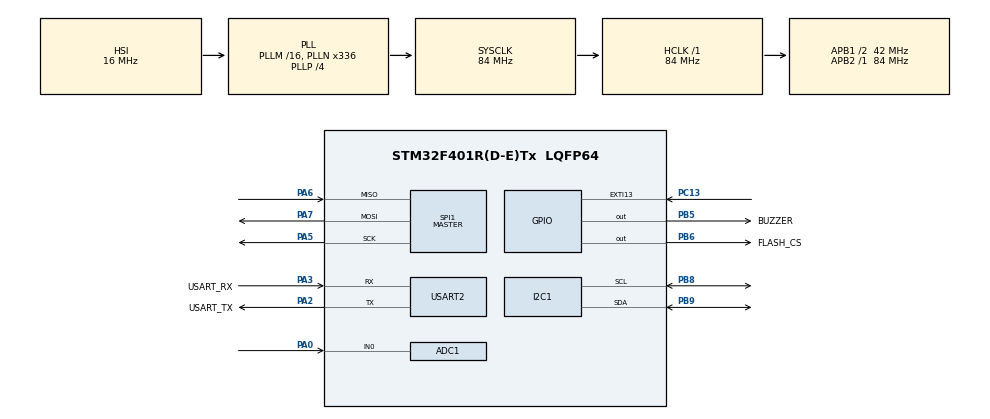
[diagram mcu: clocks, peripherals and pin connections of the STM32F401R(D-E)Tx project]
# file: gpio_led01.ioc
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ADC1.Channel-1\#ChannelRegularConversion=ADC_CHANNEL_0
ADC1.NbrOfConversionFlag=1
ADC1.Rank-1\#ChannelRegularConversion=1
ADC1.SamplingTime-1\#ChannelRegularConversion=ADC_SAMPLETIME_3CYCLES
ADC1.master=1
Mcu.Family=STM32F4
Mcu.Name=STM32F401R(D-E)Tx
Mcu.Package=LQFP64
NVIC.EXTI15_10_IRQn=true\:0\:0\:false\:false\:true\:true\:true\:true
NVIC.PriorityGroup=NVIC_PRIORITYGROUP_4
PA0-WKUP.Signal=ADCx_IN0
PA13.GPIO_Label=TMS
PA13.Mode=Trace_Asynchronous_SW
PA13.Signal=SYS_JTMS-SWDIO
PA14.GPIO_Label=TCK
PA14.Mode=Trace_Asynchronous_SW
PA14.Signal=SYS_JTCK-SWCLK
PA2.GPIO_Label=USART_TX
PA2.GPIO_Mode=GPIO_MODE_AF_PP
PA2.GPIO_PuPd=GPIO_NOPULL
PA2.GPIO_Speed=GPIO_SPEED_FREQ_LOW
PA2.Mode=Asynchronous
PA2.Signal=USART2_TX
PA3.GPIO_Label=USART_RX
PA3.GPIO_Mode=GPIO_MODE_AF_PP
PA3.GPIO_PuPd=GPIO_NOPULL
PA3.GPIO_Speed=GPIO_SPEED_FREQ_LOW
PA3.Mode=Asynchronous
PA3.Signal=USART2_RX
PA5.Mode=Full_Duplex_Master
PA5.Signal=SPI1_SCK
PA6.Mode=Full_Duplex_Master
PA6.Signal=SPI1_MISO
PA7.Mode=Full_Duplex_Master
PA7.Signal=SPI1_MOSI
PB3.GPIO_Label=SWO
PB3.Mode=Trace_Asynchronous_SW
PB3.Signal=SYS_JTDO-SWO
PB5.GPIO_Label=BUZZER
PB5.PinState=GPIO_PIN_SET
PB5.Signal=GPIO_Output
PB6.GPIO_Label=FLASH_CS
PB6.PinState=GPIO_PIN_SET
PB6.Signal=GPIO_Output
PB8.Mode=I2C
PB8.Signal=I2C1_SCL
PB9.Mode=I2C
PB9.Signal=I2C1_SDA
PC13-ANTI_TAMP.GPIO_ModeDefaultEXTI=GPIO_MODE_IT_FALLING
PC13-ANTI_TAMP.Signal=GPXTI13
PC14-OSC32_IN.Mode=LSE-External-Oscillator
PC14-OSC32_IN.Signal=RCC_OSC32_IN
PC15-OSC32_OUT.Mode=LSE-External-Oscillator
PC15-OSC32_OUT.Signal=RCC_OSC32_OUT
PH0\ -\ OSC_IN.Mode=HSE-External-Clock-Source
PH0\ -\ OSC_IN.Signal=RCC_OSC_IN
PH1\ -\ OSC_OUT.Mode=HSE-External-Clock-Source
PH1\ -\ OSC_OUT.Signal=RCC_OSC_OUT
ProjectManager.HeapSize=0x200
ProjectManager.StackSize=0x400
ProjectManager.TargetToolchain=STM32CubeIDE
RCC.48MHZClocksFreq_Value=48000000
RCC.AHBFreq_Value=84000000
RCC.APB1CLKDivider=RCC_HCLK_DIV2
RCC.APB1Freq_Value=42000000
RCC.APB1TimFreq_Value=84000000
RCC.APB2Freq_Value=84000000
RCC.APB2TimFreq_Value=84000000
RCC.CortexFreq_Value=84000000
RCC.HCLKFreq_Value=84000000
RCC.HSE_VALUE=8000000
RCC.HSI_VALUE=16000000
RCC.PLLN=336
RCC.PLLP=RCC_PLLP_DIV4
RCC.PLLQ=7
RCC.SYSCLKFreq_VALUE=84000000
RCC.SYSCLKSource=RCC_SYSCLKSOURCE_PLLCLK
RCC.VCOOutputFreq_Value=336000000
SH.ADCx_IN0.0=ADC1_IN0,IN0
SPI1.BaudRatePrescaler=SPI_BAUDRATEPRESCALER_64
SPI1.Direction=SPI_DIRECTION_2LINES
SPI1.Mode=SPI_MODE_MASTER
SPI1.VirtualType=VM_MASTER
USART2.VirtualMode=VM_ASYNC
VP_TIM2_VS_ClockSourceINT.Mode=Internal
board=NUCLEO-F401RE

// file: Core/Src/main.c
/* USER CODE BEGIN Header */
/**
  ******************************************************************************
  * @file           : main.c
  * @brief          : Main program body
  ******************************************************************************
  * @attention
  *
  * Copyright (c) 2026 STMicroelectronics.
  * All rights reserved.
  *
  * This software is licensed under terms that can be found in the LICENSE file
  * in the root directory of this software component.
  * If no LICENSE file comes with this software, it is provided AS-IS.
  *
  ******************************************************************************
  */
/* USER CODE END Header */
#include "main.h"

/* USER CODE BEGIN Includes */

#include<stdio.h>
#include <string.h>

#include "oled.h"
#include "aht20.h"
#include "w25q64.h"
#include "config.h"
#include "alarm.h"

/* USER CODE END Includes */

ADC_HandleTypeDef hadc1;

I2C_HandleTypeDef hi2c1;

SPI_HandleTypeDef hspi1;

TIM_HandleTypeDef htim2;

UART_HandleTypeDef huart2;

/* USER CODE BEGIN PV */

static volatile uint8_t button_pressed = 0;

static char tx_buffer[64];

static char oled_temp[16];
static char oled_humi[16];
static char oled_state[16];

static float humidity = 0.0f;
static float temperature = 0.0f;

static int32_t temperature_x10 = 0;
static uint32_t humidity_x10 = 0;

/* USER CODE END PV */

void SystemClock_Config(void);
static void MX_GPIO_Init(void);
static void MX_USART2_UART_Init(void);
static void MX_TIM2_Init(void);
static void MX_ADC1_Init(void);
static void MX_I2C1_Init(void);
static void MX_SPI1_Init(void);

int main(void)
{

  /* MCU Configuration--------------------------------------------------------*/

  /* Reset of all peripherals, Initializes the Flash interface and the Systick. */
  HAL_Init();

  /* Configure the system clock */
  SystemClock_Config();

  /* Initialize all configured peripherals */
  MX_GPIO_Init();
  MX_USART2_UART_Init();
  MX_TIM2_Init();
  MX_ADC1_Init();
  MX_I2C1_Init();
  MX_SPI1_Init();
  /* USER CODE BEGIN 2 */

  HAL_Delay(100);

  HAL_StatusTypeDef aht20_init_status;

  aht20_init_status = AHT20_Init(&hi2c1);

  int len = snprintf(
      tx_buffer,
      sizeof(tx_buffer),
      "AHT20 Init: %s\r\n",
      (aht20_init_status == HAL_OK) ? "OK" : "ERROR"
  );

  HAL_StatusTypeDef oled_init_status;

  oled_init_status = OLED_Init(&hi2c1);

  if (oled_init_status == HAL_OK)
  {
	    OLED_Clear();
  }

  HAL_UART_Transmit(
      &huart2,
      (uint8_t *)tx_buffer,
      len,
      100
  );

  int oled_len = snprintf(
      tx_buffer,
      sizeof(tx_buffer),
      "OLED Init: %s\r\n",
      (oled_init_status == HAL_OK) ? "OK" : "ERROR"
  );

  HAL_UART_Transmit(
      &huart2,
      (uint8_t *)tx_buffer,
      oled_len,
      100
  );

  uint8_t flash_manufacturer;
  uint8_t flash_memory_type;
  uint8_t flash_capacity;

  HAL_StatusTypeDef flash_status;

  flash_status = W25Q64_Init(&hspi1);

  if (flash_status == HAL_OK)
  {
      flash_status = W25Q64_ReadJEDEC_ID(&flash_manufacturer,
                                        &flash_memory_type,
                                        &flash_capacity);
  }

  if (flash_status == HAL_OK)
  {
      int flash_len = snprintf(
          tx_buffer,
          sizeof(tx_buffer),
          "W25Q64 JEDEC ID: %02X %02X %02X\r\n",
          flash_manufacturer,
          flash_memory_type,
          flash_capacity
      );

      HAL_UART_Transmit(
          &huart2,
          (uint8_t *)tx_buffer,
          flash_len,
          100
      );
  }
  else
  {
      int flash_len = snprintf(
          tx_buffer,
          sizeof(tx_buffer),
          "W25Q64 ERROR\r\n"
      );

      HAL_UART_Transmit(
          &huart2,
          (uint8_t *)tx_buffer,
          flash_len,
          100
      );
  }

  AlarmConfig read_config;

  if(Config_Load(&read_config) == HAL_OK &&
		   Config_IsValid(&read_config))
  {
      int config_len = snprintf(
          tx_buffer,
          sizeof(tx_buffer),
          "Load Config: T_ON=%d T_OFF=%d H_ON=%d H_OFF=%d\r\n",
          read_config.temp_on_x10,
          read_config.temp_off_x10,
          read_config.humi_on_x10,
          read_config.humi_off_x10
      );

      HAL_UART_Transmit(
          &huart2,
          (uint8_t *)tx_buffer,
          config_len,
          100
      );

      snprintf(
          tx_buffer,
          sizeof(tx_buffer),
          "Config source: FLASH\r\n"
      );

      HAL_UART_Transmit(
          &huart2,
          (uint8_t *)tx_buffer,
          strlen(tx_buffer),
          100
      );

  }
  else
  {
      /* Flash读取失败或配置非法 */
      Config_SetDefault(&read_config);

      Config_Save(&read_config);

      snprintf(
          tx_buffer,
          sizeof(tx_buffer),
          "Config invalid, defaults restored\r\n"
      );

      HAL_UART_Transmit(
          &huart2,
          (uint8_t *)tx_buffer,
          strlen(tx_buffer),
          100
      );
  }

  Alarm_SetThresholds(
      read_config.temp_on_x10,
      read_config.temp_off_x10,
      read_config.humi_on_x10,
      read_config.humi_off_x10
  );

  /* USER CODE END 2 */

  /* Infinite loop */
  while (1)
  {

    /* USER CODE BEGIN 3 */

	  if (button_pressed == 1)
	  {
	      button_pressed = 0;

	      Alarm_Enable_Toggle();
	  }

	  if (AHT20_Read(&temperature, &humidity) == HAL_OK)
	  {

		  temperature_x10 = (int32_t)(temperature * 10.0f);
		  humidity_x10 = (uint32_t)(humidity * 10.0f);

		  Alarm_Update(
		      temperature_x10,
		      humidity_x10
		  );

		  Alarm_Buzzer_Update();
		  /* ---------- UART 输出 ---------- */

		  int aht_len = snprintf(
		      tx_buffer,
		      sizeof(tx_buffer),
		      "Temperature: %ld.%ld C, Humidity: %lu.%lu %%, State: %s\r\n",
		      (long)(temperature_x10 / 10),
		      (long)(temperature_x10 % 10),
		      (unsigned long)(humidity_x10 / 10),
		      (unsigned long)(humidity_x10 % 10),
		      (Alarm_GetState() == ALARM_ACTIVE) ? "ALARM" : "NORMAL"
		  );

		  HAL_UART_Transmit(
			  &huart2,
			  (uint8_t *)tx_buffer,
			  aht_len,
			  100
		  );

		  /* ---------- OLED 实时温度 ---------- */

		  snprintf(
			  oled_temp,
			  sizeof(oled_temp),
			  "%ld.%ld",
			  (long)(temperature_x10 / 10),
			  (long)(temperature_x10 % 10)
		  );

		  snprintf(
			  oled_humi,
			  sizeof(oled_humi),
			  "%lu.%lu",
			  (unsigned long)(humidity_x10 / 10),
			  (unsigned long)(humidity_x10 % 10)
		  );

		  if (Alarm_GetState() == ALARM_ACTIVE)
		  {
		      snprintf(
		          oled_state,
		          sizeof(oled_state),
		          "ALARM"
		      );
		  }
		  else
		  {
		      snprintf(
		          oled_state,
		          sizeof(oled_state),
		          "NORMAL"
		      );
		  }

		  if (oled_init_status == HAL_OK)
		  {
			  /* 第一行：温度 */
			  OLED_ClearPage(0);
			  OLED_ShowString(0, 0, oled_temp);

			  /* 第二行：湿度 */
			  OLED_ClearPage(1);
			  OLED_ShowString(0, 1, oled_humi);

			  OLED_ClearPage(2);
			  OLED_ShowString(0, 2, oled_state);

			  OLED_ClearPage(3);

			  if (Alarm_IsEnabled())
			  {
			      OLED_ShowString(0, 3, "ALARM ON");
			  }
			  else
			  {
			      OLED_ShowString(0, 3, "ALARM OFF");
			  }
		  }

	  }

	  HAL_Delay(1000);
  }
  /* USER CODE END 3 */
}

void SystemClock_Config(void)
{
  RCC_OscInitTypeDef RCC_OscInitStruct = {0};
  RCC_ClkInitTypeDef RCC_ClkInitStruct = {0};

  /** Configure the main internal regulator output voltage
  */
  __HAL_RCC_PWR_CLK_ENABLE();
  __HAL_PWR_VOLTAGESCALING_CONFIG(PWR_REGULATOR_VOLTAGE_SCALE2);

  /** Initializes the RCC Oscillators according to the specified parameters
  * in the RCC_OscInitTypeDef structure.
  */
  RCC_OscInitStruct.OscillatorType = RCC_OSCILLATORTYPE_HSI;
  RCC_OscInitStruct.HSIState = RCC_HSI_ON;
  RCC_OscInitStruct.HSICalibrationValue = RCC_HSICALIBRATION_DEFAULT;
  RCC_OscInitStruct.PLL.PLLState = RCC_PLL_ON;
  RCC_OscInitStruct.PLL.PLLSource = RCC_PLLSOURCE_HSI;
  RCC_OscInitStruct.PLL.PLLM = 16;
  RCC_OscInitStruct.PLL.PLLN = 336;
  RCC_OscInitStruct.PLL.PLLP = RCC_PLLP_DIV4;
  RCC_OscInitStruct.PLL.PLLQ = 7;
  if (HAL_RCC_OscConfig(&RCC_OscInitStruct) != HAL_OK)
  {
    Error_Handler();
  }

  /** Initializes the CPU, AHB and APB buses clocks
  */
  RCC_ClkInitStruct.ClockType = RCC_CLOCKTYPE_HCLK|RCC_CLOCKTYPE_SYSCLK
                              |RCC_CLOCKTYPE_PCLK1|RCC_CLOCKTYPE_PCLK2;
  RCC_ClkInitStruct.SYSCLKSource = RCC_SYSCLKSOURCE_PLLCLK;
  RCC_ClkInitStruct.AHBCLKDivider = RCC_SYSCLK_DIV1;
  RCC_ClkInitStruct.APB1CLKDivider = RCC_HCLK_DIV2;
  RCC_ClkInitStruct.APB2CLKDivider = RCC_HCLK_DIV1;

  if (HAL_RCC_ClockConfig(&RCC_ClkInitStruct, FLASH_LATENCY_2) != HAL_OK)
  {
    Error_Handler();
  }
}

static void MX_ADC1_Init(void)
{

  ADC_ChannelConfTypeDef sConfig = {0};

  /** Configure the global features of the ADC (Clock, Resolution, Data Alignment and number of conversion)
  */
  hadc1.Instance = ADC1;
  hadc1.Init.ClockPrescaler = ADC_CLOCK_SYNC_PCLK_DIV4;
  hadc1.Init.Resolution = ADC_RESOLUTION_12B;
  hadc1.Init.ScanConvMode = DISABLE;
  hadc1.Init.ContinuousConvMode = DISABLE;
  hadc1.Init.DiscontinuousConvMode = DISABLE;
  hadc1.Init.ExternalTrigConvEdge = ADC_EXTERNALTRIGCONVEDGE_NONE;
  hadc1.Init.ExternalTrigConv = ADC_SOFTWARE_START;
  hadc1.Init.DataAlign = ADC_DATAALIGN_RIGHT;
  hadc1.Init.NbrOfConversion = 1;
  hadc1.Init.DMAContinuousRequests = DISABLE;
  hadc1.Init.EOCSelection = ADC_EOC_SINGLE_CONV;
  if (HAL_ADC_Init(&hadc1) != HAL_OK)
  {
    Error_Handler();
  }

  /** Configure for the selected ADC regular channel its corresponding rank in the sequencer and its sample time.
  */
  sConfig.Channel = ADC_CHANNEL_0;
  sConfig.Rank = 1;
  sConfig.SamplingTime = ADC_SAMPLETIME_3CYCLES;
  if (HAL_ADC_ConfigChannel(&hadc1, &sConfig) != HAL_OK)
  {
    Error_Handler();
  }

}

static void MX_I2C1_Init(void)
{

  hi2c1.Instance = I2C1;
  hi2c1.Init.ClockSpeed = 100000;
  hi2c1.Init.DutyCycle = I2C_DUTYCYCLE_2;
  hi2c1.Init.OwnAddress1 = 0;
  hi2c1.Init.AddressingMode = I2C_ADDRESSINGMODE_7BIT;
  hi2c1.Init.DualAddressMode = I2C_DUALADDRESS_DISABLE;
  hi2c1.Init.OwnAddress2 = 0;
  hi2c1.Init.GeneralCallMode = I2C_GENERALCALL_DISABLE;
  hi2c1.Init.NoStretchMode = I2C_NOSTRETCH_DISABLE;
  if (HAL_I2C_Init(&hi2c1) != HAL_OK)
  {
    Error_Handler();
  }

}

static void MX_SPI1_Init(void)
{

  /* SPI1 parameter configuration*/
  hspi1.Instance = SPI1;
  hspi1.Init.Mode = SPI_MODE_MASTER;
  hspi1.Init.Direction = SPI_DIRECTION_2LINES;
  hspi1.Init.DataSize = SPI_DATASIZE_8BIT;
  hspi1.Init.CLKPolarity = SPI_POLARITY_LOW;
  hspi1.Init.CLKPhase = SPI_PHASE_1EDGE;
  hspi1.Init.NSS = SPI_NSS_SOFT;
  hspi1.Init.BaudRatePrescaler = SPI_BAUDRATEPRESCALER_64;
  hspi1.Init.FirstBit = SPI_FIRSTBIT_MSB;
  hspi1.Init.TIMode = SPI_TIMODE_DISABLE;
  hspi1.Init.CRCCalculation = SPI_CRCCALCULATION_DISABLE;
  hspi1.Init.CRCPolynomial = 10;
  if (HAL_SPI_Init(&hspi1) != HAL_OK)
  {
    Error_Handler();
  }

}

static void MX_TIM2_Init(void)
{

  TIM_ClockConfigTypeDef sClockSourceConfig = {0};
  TIM_MasterConfigTypeDef sMasterConfig = {0};

  htim2.Instance = TIM2;
  htim2.Init.Prescaler = 0;
  htim2.Init.CounterMode = TIM_COUNTERMODE_UP;
  htim2.Init.Period = 4294967295;
  htim2.Init.ClockDivision = TIM_CLOCKDIVISION_DIV1;
  htim2.Init.AutoReloadPreload = TIM_AUTORELOAD_PRELOAD_DISABLE;
  if (HAL_TIM_Base_Init(&htim2) != HAL_OK)
  {
    Error_Handler();
  }
  sClockSourceConfig.ClockSource = TIM_CLOCKSOURCE_INTERNAL;
  if (HAL_TIM_ConfigClockSource(&htim2, &sClockSourceConfig) != HAL_OK)
  {
    Error_Handler();
  }
  sMasterConfig.MasterOutputTrigger = TIM_TRGO_RESET;
  sMasterConfig.MasterSlaveMode = TIM_MASTERSLAVEMODE_DISABLE;
  if (HAL_TIMEx_MasterConfigSynchronization(&htim2, &sMasterConfig) != HAL_OK)
  {
    Error_Handler();
  }

}

static void MX_USART2_UART_Init(void)
{

  huart2.Instance = USART2;
  huart2.Init.BaudRate = 115200;
  huart2.Init.WordLength = UART_WORDLENGTH_8B;
  huart2.Init.StopBits = UART_STOPBITS_1;
  huart2.Init.Parity = UART_PARITY_NONE;
  huart2.Init.Mode = UART_MODE_TX_RX;
  huart2.Init.HwFlowCtl = UART_HWCONTROL_NONE;
  huart2.Init.OverSampling = UART_OVERSAMPLING_16;
  if (HAL_UART_Init(&huart2) != HAL_OK)
  {
    Error_Handler();
  }

}

static void MX_GPIO_Init(void)
{
  GPIO_InitTypeDef GPIO_InitStruct = {0};

  /* GPIO Ports Clock Enable */
  __HAL_RCC_GPIOC_CLK_ENABLE();
  __HAL_RCC_GPIOH_CLK_ENABLE();
  __HAL_RCC_GPIOA_CLK_ENABLE();
  __HAL_RCC_GPIOB_CLK_ENABLE();

  /*Configure GPIO pin Output Level */
  HAL_GPIO_WritePin(GPIOB, BUZZER_Pin|FLASH_CS_Pin, GPIO_PIN_SET);

  /*Configure GPIO pin : PC13 */
  GPIO_InitStruct.Pin = GPIO_PIN_13;
  GPIO_InitStruct.Mode = GPIO_MODE_IT_FALLING;
  GPIO_InitStruct.Pull = GPIO_NOPULL;
  HAL_GPIO_Init(GPIOC, &GPIO_InitStruct);

  /*Configure GPIO pins : BUZZER_Pin FLASH_CS_Pin */
  GPIO_InitStruct.Pin = BUZZER_Pin|FLASH_CS_Pin;
  GPIO_InitStruct.Mode = GPIO_MODE_OUTPUT_PP;
  GPIO_InitStruct.Pull = GPIO_NOPULL;
  GPIO_InitStruct.Speed = GPIO_SPEED_FREQ_LOW;
  HAL_GPIO_Init(GPIOB, &GPIO_InitStruct);

  /* EXTI interrupt init*/
  HAL_NVIC_SetPriority(EXTI15_10_IRQn, 0, 0);
  HAL_NVIC_EnableIRQ(EXTI15_10_IRQn);

}

/* USER CODE BEGIN 4 */

void HAL_GPIO_EXTI_Callback(uint16_t GPIO_Pin)
{
    static uint32_t last_button_tick = 0;

    if (GPIO_Pin == GPIO_PIN_13)
    {
        uint32_t now = HAL_GetTick();

        if (now - last_button_tick >= 50)
        {
            last_button_tick = now;
            button_pressed = 1;
        }
    }
}

/* USER CODE END 4 */

void Error_Handler(void)
{
  __disable_irq();
  while (1)
  {
  }
}
